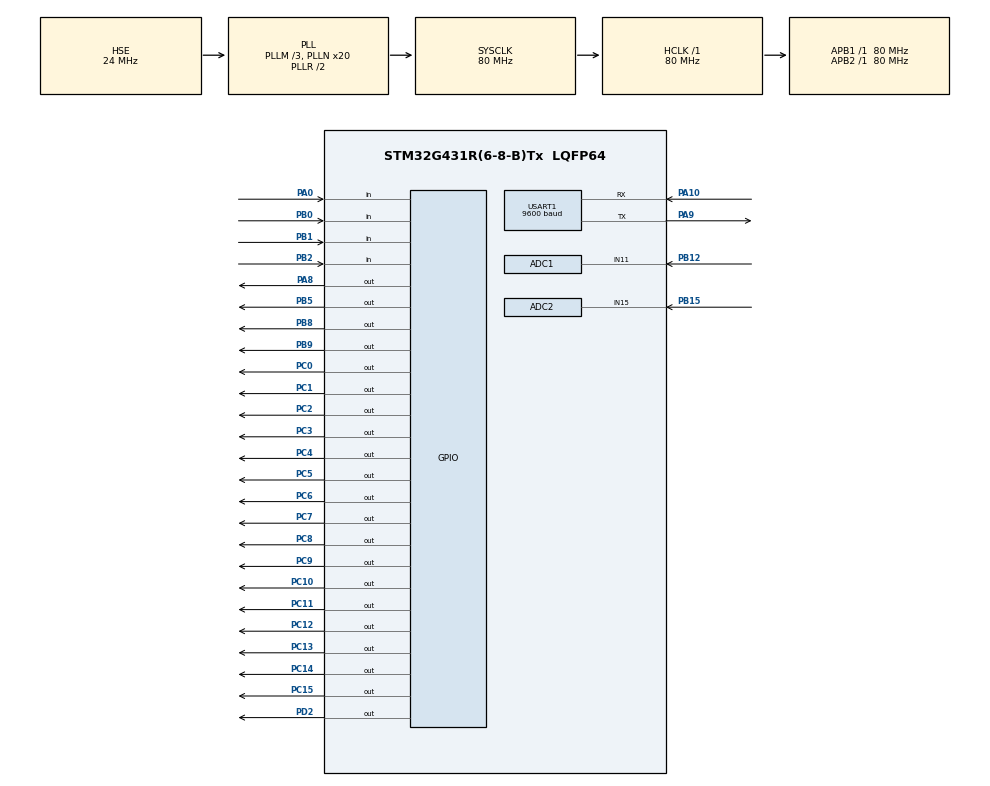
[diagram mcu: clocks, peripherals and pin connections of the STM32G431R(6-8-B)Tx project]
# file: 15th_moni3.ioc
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ADC1.Channel-0\#ChannelRegularConversion=ADC_CHANNEL_11
ADC1.NbrOfConversionFlag=1
ADC1.OffsetNumber-0\#ChannelRegularConversion=ADC_OFFSET_NONE
ADC1.Rank-0\#ChannelRegularConversion=1
ADC1.SamplingTime-0\#ChannelRegularConversion=ADC_SAMPLETIME_2CYCLES_5
ADC1.master=1
ADC2.Channel-0\#ChannelRegularConversion=ADC_CHANNEL_15
ADC2.NbrOfConversionFlag=1
ADC2.OffsetNumber-0\#ChannelRegularConversion=ADC_OFFSET_NONE
ADC2.Rank-0\#ChannelRegularConversion=1
ADC2.SamplingTime-0\#ChannelRegularConversion=ADC_SAMPLETIME_2CYCLES_5
Mcu.Family=STM32G4
Mcu.Name=STM32G431R(6-8-B)Tx
Mcu.Package=LQFP64
NVIC.PriorityGroup=NVIC_PRIORITYGROUP_4
NVIC.TIM3_IRQn=true\:0\:0\:false\:false\:true\:true\:true\:true
NVIC.USART1_IRQn=true\:0\:0\:false\:false\:true\:true\:true\:true
PA0.GPIO_PuPd=GPIO_PULLUP
PA0.Signal=GPIO_Input
PA10.Mode=Asynchronous
PA10.Signal=USART1_RX
PA13.Mode=Serial_Wire
PA13.Signal=SYS_JTMS-SWDIO
PA14.Mode=Serial_Wire
PA14.Signal=SYS_JTCK-SWCLK
PA8.Signal=GPIO_Output
PA9.Mode=Asynchronous
PA9.Signal=USART1_TX
PB0.GPIO_PuPd=GPIO_PULLUP
PB0.Signal=GPIO_Input
PB1.GPIO_PuPd=GPIO_PULLUP
PB1.Signal=GPIO_Input
PB12.Mode=IN11-Single-Ended
PB12.Signal=ADC1_IN11
PB15.Mode=IN15-Single-Ended
PB15.Signal=ADC2_IN15
PB2.GPIO_PuPd=GPIO_PULLUP
PB2.Signal=GPIO_Input
PB5.Signal=GPIO_Output
PB8-BOOT0.Signal=GPIO_Output
PB9.Signal=GPIO_Output
PC0.Signal=GPIO_Output
PC1.Signal=GPIO_Output
PC10.PinState=GPIO_PIN_SET
PC10.Signal=GPIO_Output
PC11.PinState=GPIO_PIN_SET
PC11.Signal=GPIO_Output
PC12.PinState=GPIO_PIN_SET
PC12.Signal=GPIO_Output
PC13.PinState=GPIO_PIN_SET
PC13.Signal=GPIO_Output
PC14-OSC32_IN.PinState=GPIO_PIN_SET
PC14-OSC32_IN.Signal=GPIO_Output
PC15-OSC32_OUT.PinState=GPIO_PIN_SET
PC15-OSC32_OUT.Signal=GPIO_Output
PC2.Signal=GPIO_Output
PC3.Signal=GPIO_Output
PC4.Signal=GPIO_Output
PC5.Signal=GPIO_Output
PC6.Signal=GPIO_Output
PC7.Signal=GPIO_Output
PC8.PinState=GPIO_PIN_SET
PC8.Signal=GPIO_Output
PC9.PinState=GPIO_PIN_SET
PC9.Signal=GPIO_Output
PD2.Signal=GPIO_Output
PF0-OSC_IN.Mode=HSE-External-Oscillator
PF0-OSC_IN.Signal=RCC_OSC_IN
PF1-OSC_OUT.Mode=HSE-External-Oscillator
PF1-OSC_OUT.Signal=RCC_OSC_OUT
ProjectManager.HeapSize=0x200
ProjectManager.StackSize=0x400
ProjectManager.TargetToolchain=MDK-ARM V5.32
RCC.ADC12Freq_Value=80000000
RCC.AHBFreq_Value=80000000
RCC.APB1Freq_Value=80000000
RCC.APB1TimFreq_Value=80000000
RCC.APB2Freq_Value=80000000
RCC.APB2TimFreq_Value=80000000
RCC.CortexFreq_Value=80000000
RCC.EXTERNAL_CLOCK_VALUE=12288000
RCC.HCLKFreq_Value=80000000
RCC.HSE_VALUE=24000000
RCC.HSI48_VALUE=48000000
RCC.HSI_VALUE=16000000
RCC.LSE_VALUE=32768
RCC.PLLM=RCC_PLLM_DIV3
RCC.PLLN=20
RCC.PLLSourceVirtual=RCC_PLLSOURCE_HSE
RCC.SYSCLKFreq_VALUE=80000000
RCC.SYSCLKSource=RCC_SYSCLKSOURCE_PLLCLK
RCC.USBFreq_Value=80000000
RCC.VCOOutputFreq_Value=160000000
TIM3.PeriodNoDither=10000-1
TIM3.Prescaler=80-1
USART1.BaudRate=9600
USART1.VirtualMode-Asynchronous=VM_ASYNC
VP_SYS_VS_DBSignals.Mode=DisableDeadBatterySignals
VP_TIM3_VS_ClockSourceINT.Mode=Internal
board=custom

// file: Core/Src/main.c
/* USER CODE BEGIN Header */
/**
  ******************************************************************************
  * @file           : main.c
  * @brief          : Main program body
  ******************************************************************************
  * @attention
  *
  * Copyright (c) 2024 STMicroelectronics.
  * All rights reserved.
  *
  * This software is licensed under terms that can be found in the LICENSE file
  * in the root directory of this software component.
  * If no LICENSE file comes with this software, it is provided AS-IS.
  *
  ******************************************************************************
  */
/* USER CODE END Header */
#include "main.h"
#include "adc.h"
#include "tim.h"
#include "usart.h"
#include "gpio.h"

/* USER CODE BEGIN Includes */

#include "stdio.h"
#include "String.h"
#include "led.h"
#include "lcd.h"
#include "myadc.h"
#include "myusart.h"
#include "timer.h"

/* USER CODE END Includes */

/* USER CODE BEGIN PTD */

unsigned char ucled=0x00;
unsigned char lcd_text[30];
unsigned char usart_text[30];

//减速函数
__IO uint32_t uwTick_Led;
__IO uint32_t uwTick_Lcd;

/* USER CODE END PTD */

/* USER CODE BEGIN PD */

unsigned char view=0;

double R38_v=0.0;
double R37_v=0.0;

//R37产品检测标准上限
double R37_H=2.2;
//R37产品检测标准下限
double R37_L=1.2;

//R38产品检测标准上限
double R38_H=3.0;
//R37产品检测标准下限
double R38_L=1.4;

//R37产品合格率
double PR37=0;
//R38产品合格率
double PR38=0;

//R37的总检测数
unsigned int R37_Count=0;
//R37的符合标准数
unsigned int R37_Standard=0;

//R38的总检测数
unsigned int R38_Count=0;

//R38的符合标准数
unsigned int R38_Standard=0;

//产品R37检测通过标志
unsigned char R37_Pass=0;

//产品R38检测通过标志
unsigned char R38_Pass=0;

unsigned char choose_key=0;

/* USER CODE END PD */

void SystemClock_Config(void);
/* USER CODE BEGIN PFP */

void Lcd_proc(void);
void key_proc(void);
void Led_proc(void);
void usart_proc(void);

/* USER CODE END PFP */

int main(void)
{

  /* MCU Configuration--------------------------------------------------------*/

  /* Reset of all peripherals, Initializes the Flash interface and the Systick. */
  HAL_Init();

  /* Configure the system clock */
  SystemClock_Config();

  /* Initialize all configured peripherals */
  MX_GPIO_Init();
  MX_ADC1_Init();
  MX_ADC2_Init();
  MX_USART1_UART_Init();
  MX_TIM3_Init();
  /* USER CODE BEGIN 2 */

    led_disp(ucled);

    LCD_Init();
    LCD_Clear(Black);
    LCD_SetBackColor(Black);
    LCD_SetTextColor(White);

    //使能时钟TIM3
    HAL_TIM_Base_Start_IT(&htim3);

    //打开串口接收
    HAL_UART_Receive_IT(&huart1,&rxdat,1);
    //默认产品参数界面
    view=0;

  /* USER CODE END 2 */

  /* Infinite loop */
  while (1)
  {

    /* USER CODE BEGIN 3 */
      key_proc();
      Lcd_proc();
      Led_proc();
      if(rx_pointer!=0)
      {
          int temp=rx_pointer;
          HAL_Delay(1);
          if(temp==rx_pointer)
          {
             usart_proc();
          }
      }
  }
  /* USER CODE END 3 */
}

void SystemClock_Config(void)
{
  RCC_OscInitTypeDef RCC_OscInitStruct = {0};
  RCC_ClkInitTypeDef RCC_ClkInitStruct = {0};

  /** Configure the main internal regulator output voltage
  */
  HAL_PWREx_ControlVoltageScaling(PWR_REGULATOR_VOLTAGE_SCALE1);

  /** Initializes the RCC Oscillators according to the specified parameters
  * in the RCC_OscInitTypeDef structure.
  */
  RCC_OscInitStruct.OscillatorType = RCC_OSCILLATORTYPE_HSE;
  RCC_OscInitStruct.HSEState = RCC_HSE_ON;
  RCC_OscInitStruct.PLL.PLLState = RCC_PLL_ON;
  RCC_OscInitStruct.PLL.PLLSource = RCC_PLLSOURCE_HSE;
  RCC_OscInitStruct.PLL.PLLM = RCC_PLLM_DIV3;
  RCC_OscInitStruct.PLL.PLLN = 20;
  RCC_OscInitStruct.PLL.PLLP = RCC_PLLP_DIV2;
  RCC_OscInitStruct.PLL.PLLQ = RCC_PLLQ_DIV2;
  RCC_OscInitStruct.PLL.PLLR = RCC_PLLR_DIV2;
  if (HAL_RCC_OscConfig(&RCC_OscInitStruct) != HAL_OK)
  {
    Error_Handler();
  }

  /** Initializes the CPU, AHB and APB buses clocks
  */
  RCC_ClkInitStruct.ClockType = RCC_CLOCKTYPE_HCLK|RCC_CLOCKTYPE_SYSCLK
                              |RCC_CLOCKTYPE_PCLK1|RCC_CLOCKTYPE_PCLK2;
  RCC_ClkInitStruct.SYSCLKSource = RCC_SYSCLKSOURCE_PLLCLK;
  RCC_ClkInitStruct.AHBCLKDivider = RCC_SYSCLK_DIV1;
  RCC_ClkInitStruct.APB1CLKDivider = RCC_HCLK_DIV1;
  RCC_ClkInitStruct.APB2CLKDivider = RCC_HCLK_DIV1;

  if (HAL_RCC_ClockConfig(&RCC_ClkInitStruct, FLASH_LATENCY_2) != HAL_OK)
  {
    Error_Handler();
  }
}

/* USER CODE BEGIN 4 */

void Lcd_proc(void)
{
    if((uwTick-uwTick_Lcd)<100)return;
    uwTick_Lcd=uwTick;

    switch(view)
    {
        case 0://产品参数界面
            memset(lcd_text,0,sizeof(lcd_text));
            sprintf((char *)lcd_text,"       GOODS          ");
            LCD_DisplayStringLine(Line1,lcd_text);

            memset(lcd_text,0,sizeof(lcd_text));
            sprintf((char *)lcd_text,"     R37:%0.2fV",R37_v);
            LCD_DisplayStringLine(Line3,lcd_text);

            memset(lcd_text,0,sizeof(lcd_text));
            sprintf((char *)lcd_text,"     R38:%0.2fV",R38_v);
            LCD_DisplayStringLine(Line4,lcd_text);

            break;
        case 1://标准设置界面
            memset(lcd_text,0,sizeof(lcd_text));
            sprintf((char *)lcd_text,"      STANDARD       ");
            LCD_DisplayStringLine(Line1,lcd_text);

            memset(lcd_text,0,sizeof(lcd_text));
            sprintf((char *)lcd_text,"    SR37:%0.1f-%0.1f",R37_L,R37_H);
            LCD_DisplayStringLine(Line3,lcd_text);

            memset(lcd_text,0,sizeof(lcd_text));
            sprintf((char *)lcd_text,"    SR38:%0.1f-%0.1f",R38_L,R38_H);
            LCD_DisplayStringLine(Line4,lcd_text);

            break;
        case 2://合格率界面
            memset(lcd_text,0,sizeof(lcd_text));
            sprintf((char *)lcd_text,"        PASS          ");
            LCD_DisplayStringLine(Line1,lcd_text);

            memset(lcd_text,0,sizeof(lcd_text));
            sprintf((char *)lcd_text,"     PR37:%0.1f%%       ",PR37);
            LCD_DisplayStringLine(Line3,lcd_text);

            memset(lcd_text,0,sizeof(lcd_text));
            sprintf((char *)lcd_text,"     PR38:%0.1f%%       ",PR38);
            LCD_DisplayStringLine(Line4,lcd_text);

            break;
    }
}

void key_proc(void)
{
    R37_v=Get_Adc(&hadc2);
    R38_v=Get_Adc(&hadc1);
    HAL_Delay(1);

    if(1==keys[0].single_flag)//按下了B1
    {
        keys[0].single_flag=0;
        view++;
        if(3==view)view=0;
        //每转换一次界面，就清一次屏
         LCD_Clear(Black);
    }
    else if(1==keys[1].single_flag)//按下了B2
    {
        keys[1].single_flag=0;
        if(0==view)//产品界面下，检测产品R37是否合格
        {
            R37_Count++;
            if((R37_v>=R37_L)&&(R37_v<=R37_H))
            {
                R37_Standard++;
                R37_Pass=1;
            }
            //if(R37_Count!=0)
            PR37=((1.0*R37_Standard)/R37_Count)*100;
        }
        else if(1==view)//标准设置界面下，选择需要调整产品R37\R38的检测标准上限
        {
           choose_key++;
           if(4==choose_key)choose_key=0;
        }
    }
    else if(1==keys[2].single_flag)//按下了B3
    {
        keys[2].single_flag=0;
        if(0==view)//产品界面下，检测产品R38是否合格
        {
            R38_Count++;
            if((R38_v>=R38_L)&&(R38_v<=R38_H))
            {
                R38_Standard++;
                R38_Pass=1;
            }
            //if(R38_Count!=0)
            PR38=((1.0*R38_Standard)/R38_Count)*100;
         }
        else if(1==view)//标准设置界面下，选择的产品标准上限或下限加0.2，取值范围：上限：2.2-3.0；下限：1.2-2.0
        {
            switch(choose_key)
            {
                case 0://产品R37上限
                    R37_H+=0.2;
                    if(R37_H>=3.2)
                        R37_H=2.2;
                    PR37=0;R37_Standard=0;R37_Count=0;
                    break;
                case 1://产品R37下限
                    R37_L+=0.2;
                    if(R37_L>2.0)
                        R37_L=1.2;
                    PR37=0;R37_Standard=0;R37_Count=0;
                    break;
                case 2://产品R38上限
                    R38_H+=0.2;
                    if(R38_H>=3.2)
                        R38_H=2.2;
                    PR38=0;R38_Standard=0;R38_Count=0;
                    break;
                case 3://产品R38下限
                    R38_L+=0.2;
                    if(R38_L>2.0)
                        R38_L=1.2;
                    PR38=0;R38_Standard=0;R38_Count=0;
                    break;
            }
        }
    }
    else if(1==keys[3].single_flag)//按下了B4
    {
        keys[3].single_flag=0;
        if(1==view)//标准设置界面下，选择的产品标准上限或下限减0.2，上限取值范围：3.0-2.2；下限取值范围：2.0-1.2
        {
            switch(choose_key)
            {
                case 0://产品R37上限
                    R37_H-=0.2;
                    if(R37_H<=2.0)
                        R37_H=3.0;
                    PR37=0;R37_Standard=0;R37_Count=0;
                    break;
                case 1://产品R37下限
                    R37_L-=0.2;
                    if(R37_L<1.2)
                        R37_L=2.0;
                    PR37=0;R37_Standard=0;R37_Count=0;
                    break;
                case 2://产品R38上限
                    R38_H-=0.2;
                    if(R38_H<=2.0)
                        R38_H=3.0;
                    PR38=0;R38_Standard=0;R38_Count=0;
                    break;
                case 3://产品R38下限
                    R38_L-=0.2;
                    if(R38_L<1.2)
                        R38_L=2.0;
                    PR38=0;R38_Standard=0;R38_Count=0;
                    break;
            }
        }
        else if(2==view)//合格率界面下，清零当前得出的产品R37和R38的合格率
        {
            PR37=0;
            PR38=0;
            R38_Standard=0;
            R38_Count=0;
            R37_Standard=0;
            R37_Count=0;
        }
    }

}

void Led_proc(void)
{
    if((uwTick-uwTick_Led)<50)return;
    uwTick_Led=uwTick;

//    if(1==R37_Pass)//产品R37检测通过时，LD1点亮1s后熄灭；
//    {
//        ucled |=0x01;
//    }
//    else
//    {
//        ucled &=0xfe;
//    }
//
//    if(1==R38_Pass)//产品R38检测通过时，LD2点亮1s后熄灭；
//    {
//        ucled |=0x02;
//    }
//    else
//    {
//        ucled &=0xfd;
//    }

    switch(view)
    {
        case 0://产品参数界面下，LD3点亮，否则熄灭
            ucled|=0x04;
            ucled &=0xe7;
            break;
        case 1://标准设置界面下，LD4点亮，否则熄灭
            ucled |=0x08;
            ucled &=0xeb;
            break;
        case 2://合格率界面下，LD5点亮，否则熄灭
            ucled |=0x10;
            ucled &=0xf3;
            break;
    }
    led_disp(ucled);
}

void usart_proc(void)
{
    if(rx_pointer!=0)
    {
//串口接收到字符“R37”或“R38”后，向PC端返回对应产品的名称、当前总检测数、合格数及合格率。
//返回格式如下：
//产品名称:总检测数,合格数,合格率
        if(strcmp((char *)rxdata,"R37")==0)
        {
        memset(usart_text,0,sizeof(usart_text));
        sprintf((char *)usart_text,"R37:%d,%d,%0.1f%%",R37_Count,R37_Standard,PR37);
        HAL_UART_Transmit(&huart1,usart_text,sizeof(usart_text),50);
        }
        else if(strcmp((char *)rxdata,"R38")==0)
        {
        memset(usart_text,0,sizeof(usart_text));
        sprintf((char *)usart_text,"R38:%d,%d,%0.1f%%",R38_Count,R38_Standard,PR38);
        HAL_UART_Transmit(&huart1,usart_text,sizeof(usart_text),50);
         }
        rx_pointer=0;
        memset(rxdata,0,sizeof(rxdata));

    }
}

/* USER CODE END 4 */

void Error_Handler(void)
{
  __disable_irq();
  while (1)
  {
  }
}
